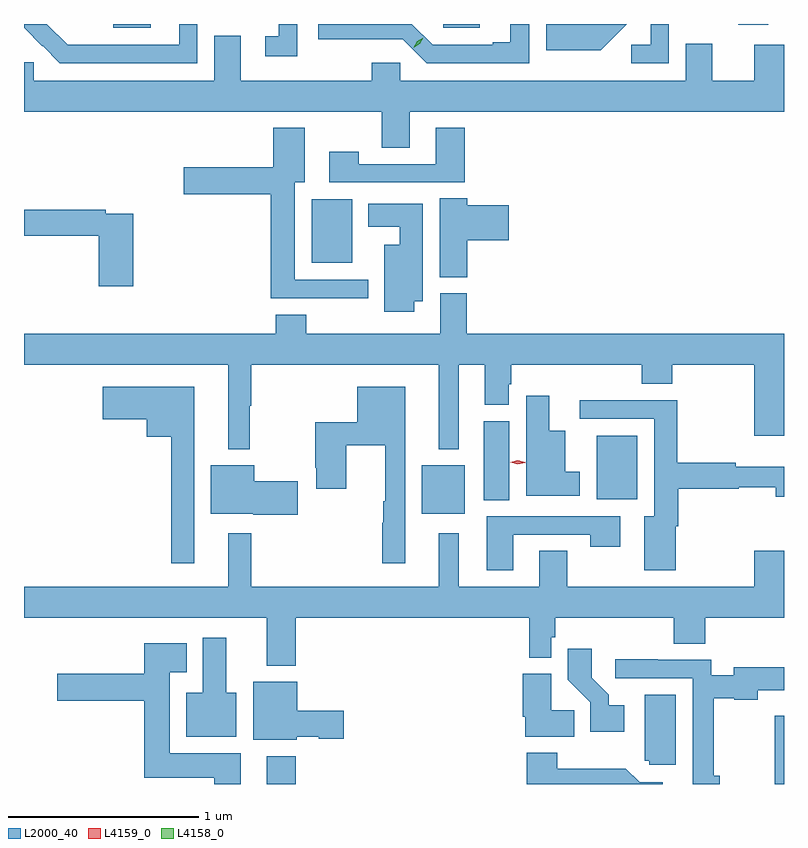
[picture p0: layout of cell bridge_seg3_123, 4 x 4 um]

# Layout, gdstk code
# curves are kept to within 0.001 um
import gdstk
lib = gdstk.Library(unit=1e-6, precision=1e-09)
def R(c, l, rs):  # rectangles x0, y0, x1, y1
    for r in rs: c.add(gdstk.rectangle(r[:2], r[2:], *l))
def P(c, l, *ps):  # polygons
    for p in ps: c.add(gdstk.Polygon(p, *l))
L2000_40 = (2000, 40)
L4158_0 = (4158, 0)
L4159_0 = (4159, 0)

bridge_seg3_123 = lib.new_cell('bridge_seg3_123')
R(bridge_seg3_123, L2000_40, [(318.287,714.694,318.44,714.841), (320.959,714.694,321.009,715.054), (319.103,716.117,319.33,716.371), (319.43,716.188,319.564,716.604), (320.024,716.192,320.236,716.527), (318.524,717.437,318.736,717.772), (317.478,718.674,317.677,718.694), (319.215,718.674,319.408,718.694), (320.768,718.689,320.926,718.694)])
P(bridge_seg3_123, L2000_40, [(317.922,718.694),(317.825,718.694),(317.825,718.584),(317.238,718.585),(317.128,718.694),(317.009,718.694),(317.009,718.675),(317.198,718.488),(317.922,718.488)],
  [(320.125,718.637),(320.181,718.694),(319.79,718.694),(319.788,718.692),(319.757,718.692),(319.757,718.556),(320.045,718.556)],
  [(320.403,718.694),(320.307,718.694),(320.307,718.584),(320.205,718.584),(320.205,718.488),(320.403,718.488)],
  [(318.447,718.694),(318.351,718.694),(318.351,718.629),(318.279,718.629),(318.279,718.524),(318.447,718.524)],
  [(319.668,718.694),(319.569,718.694),(319.569,718.597),(319.475,718.597),(319.475,718.584),(319.161,718.584),(319.051,718.694),(318.557,718.694),(318.557,718.613),(319.002,718.614),(319.128,718.488),(319.668,718.488)],
  [(319.039,718.232),(321.009,718.232),(321.009,718.585),(320.852,718.585),(320.852,718.396),(320.632,718.396),(320.632,718.591),(320.492,718.591),(320.492,718.396),(318.99,718.396),(318.99,718.489),(318.839,718.489),(318.839,718.396),(318.151,718.396),(318.151,718.632),(318.011,718.632),(318.011,718.396),(317.061,718.396),(317.061,718.494),(317.009,718.494),(317.009,718.232),(318.892,718.232),(318.892,718.042),(319.039,718.042)],
  [(318.82,717.348),(318.433,717.348),(318.433,717.86),(318.487,717.86),(318.487,718.147),(318.32,718.147),(318.32,717.939),(317.85,717.939),(317.85,717.797),(318.308,717.797),(318.308,717.251),(318.82,717.251)],
  [(319.328,718.147),(319.175,718.147),(319.175,717.957),(318.771,717.957),(318.771,718.021),(318.615,718.021),(318.615,717.861),(319.328,717.861)],
  [(319.343,717.557),(319.561,717.557),(319.561,717.74),(319.343,717.74),(319.343,717.776),(319.196,717.776),(319.196,717.361),(319.343,717.361)],
  [(319.063,717.236),(319.108,717.236),(319.108,717.748),(318.821,717.748),(318.821,717.626),(318.986,717.626),(318.986,717.532),(318.905,717.532),(318.905,717.18),(319.063,717.18)],
  [(317.585,717.696),(317.438,717.696),(317.438,717.716),(317.009,717.716),(317.009,717.58),(317.402,717.58),(317.402,717.315),(317.585,717.315)],
  [(318.197,716.684),(318.205,716.684),(318.205,716.9),(319.193,716.9),(319.193,716.456),(319.297,716.456),(319.297,716.9),(319.433,716.9),(319.433,716.689),(319.561,716.689),(319.561,716.799),(319.574,716.799),(319.574,716.9),(320.261,716.9),(320.261,716.801),(320.421,716.801),(320.421,716.9),(320.852,716.9),(320.852,716.526),(321.009,716.526),(321.009,717.064),(319.34,717.064),(319.34,717.276),(319.199,717.276),(319.199,717.064),(318.495,717.064),(318.495,717.163),(318.335,717.163),(318.335,717.064),(317.009,717.064),(317.009,716.9),(318.083,716.9),(318.083,716.456),(318.197,716.456)],
  [(317.905,716.785),(317.424,716.785),(317.424,716.615),(317.654,716.615),(317.654,716.522),(317.784,716.522),(317.784,715.857),(317.905,715.857)],
  [(319.015,716.785),(318.764,716.785),(318.764,716.599),(318.541,716.599),(318.541,716.359),(318.548,716.359),(318.548,716.247),(318.706,716.247),(318.706,716.477),(318.911,716.477),(318.911,716.181),(318.901,716.181),(318.901,716.069),(318.894,716.069),(318.894,715.857),(319.015,715.857)],
  [(319.933,716.338),(319.858,716.338),(319.858,716.554),(319.774,716.554),(319.774,716.737),(319.652,716.737),(319.652,716.21),(319.933,716.21)],
  [(320.44,716.051),(320.453,716.051),(320.453,716.248),(320.77,716.248),(320.77,716.256),(320.966,716.256),(320.966,716.206),(321.009,716.206),(321.009,716.365),(320.756,716.365),(320.756,716.384),(320.448,716.384),(320.448,716.714),(319.935,716.714),(319.935,716.616),(320.327,716.616),(320.327,716.104),(320.273,716.104),(320.273,715.818),(320.44,715.818)],
  [(318.451,716.288),(318.22,716.288),(318.22,716.371),(317.993,716.371),(317.993,716.117),(318.216,716.117),(318.216,716.11),(318.451,716.11)],
  [(319.585,716.007),(319.99,716.007),(319.99,715.944),(320.146,715.944),(320.146,716.103),(319.445,716.103),(319.445,715.818),(319.585,715.818)],
  [(319.721,715.732),(319.297,715.732),(319.297,716.014),(319.193,716.014),(319.193,715.732),(318.205,715.732),(318.205,716.014),(318.083,716.014),(318.083,715.732),(317.009,715.732),(317.009,715.568),(318.287,715.568),(318.287,715.316),(318.44,715.316),(318.44,715.568),(319.669,715.568),(319.669,715.358),(319.785,715.358),(319.785,715.467),(319.805,715.467),(319.805,715.568),(320.429,715.568),(320.429,715.432),(320.594,715.432),(320.594,715.568),(321.009,715.568),(321.009,715.921),(320.852,715.921),(320.852,715.732),(319.869,715.732),(319.869,715.922),(319.721,715.922)],
  [(318.127,715.174),(318.073,715.174),(318.073,715.465),(317.951,715.465),(317.951,715.174),(317.864,715.174),(317.864,714.944),(318.127,714.944)],
  [(318.151,714.856),(317.776,714.856),(317.776,715.283),(317.866,715.283),(317.866,715.435),(317.642,715.435),(317.642,715.275),(317.184,715.275),(317.184,715.133),(317.642,715.133),(317.642,714.728),(318.011,714.728),(318.011,714.694),(318.151,714.694)],
  [(320.167,715.108),(320.086,715.108),(320.086,715.163),(319.996,715.253),(319.996,715.405),(319.87,715.405),(319.87,715.242),(319.989,715.123),(319.989,714.968),(320.167,714.968)],
  [(320.67,714.738),(320.638,714.738),(320.638,715.146),(320.748,715.146),(320.748,715.138),(320.872,715.138),(320.872,715.187),(321.009,715.187),(321.009,715.309),(320.744,715.309),(320.744,715.267),(320.625,715.267),(320.625,715.347),(320.345,715.347),(320.345,715.35),(320.121,715.35),(320.121,715.251),(320.529,715.251),(320.529,714.726),(320.528,714.726),(320.528,714.694),(320.67,714.694)],
  [(319.904,715.082),(319.783,715.082),(319.783,715.273),(319.634,715.273),(319.634,715.048),(319.646,715.048),(319.646,714.944),(319.904,714.944)],
  [(318.444,714.944),(318.561,714.944),(318.561,714.932),(318.691,714.932),(318.691,715.079),(318.448,715.079),(318.448,715.231),(318.215,715.231),(318.215,714.926),(318.444,714.926)],
  [(320.44,715.165),(320.276,715.165),(320.276,714.816),(320.301,714.816),(320.301,714.795),(320.44,714.795)],
  [(320.371,714.702),(320.25,714.702),(320.177,714.775),(319.815,714.775),(319.815,714.859),(319.655,714.859),(319.655,714.694),(320.371,714.694)])
P(bridge_seg3_123, L4158_0, [(319.06,718.57),(319.06,718.571),(319.078,718.603),(319.109,718.622),(319.11,718.622),(319.11,718.622),(319.092,718.589),(319.061,718.57)])
P(bridge_seg3_123, L4159_0, [(319.607,716.377),(319.567,716.387),(319.567,716.387),(319.567,716.387),(319.607,716.397),(319.648,716.387),(319.648,716.386),(319.648,716.386)])

lib.write_gds('bridge_seg3_123.gds')
